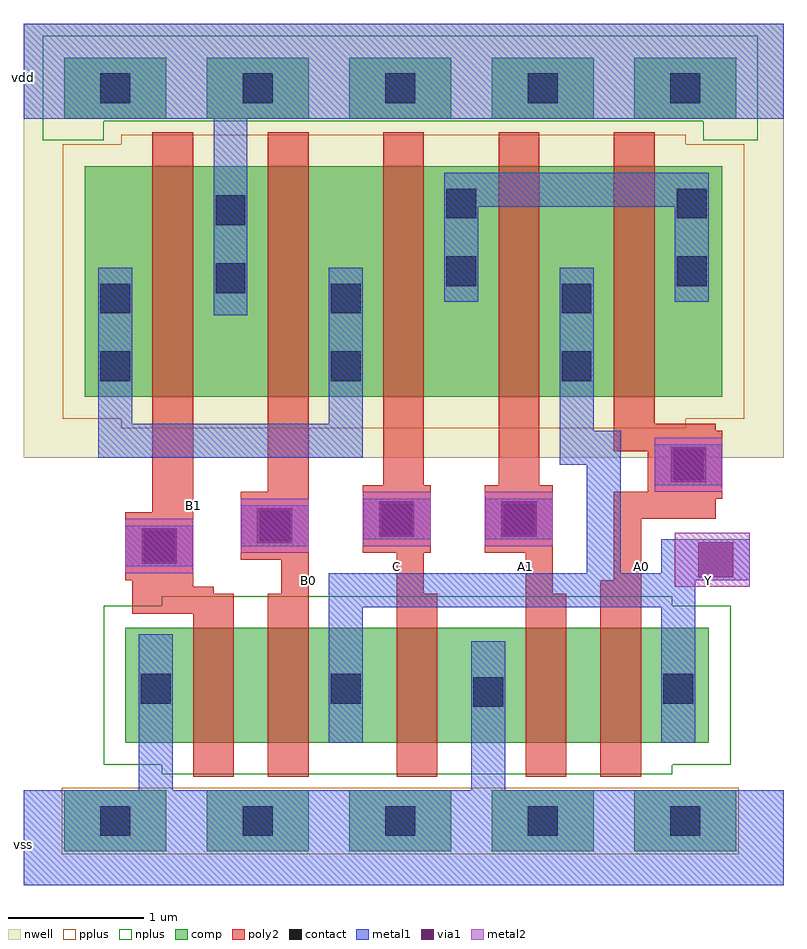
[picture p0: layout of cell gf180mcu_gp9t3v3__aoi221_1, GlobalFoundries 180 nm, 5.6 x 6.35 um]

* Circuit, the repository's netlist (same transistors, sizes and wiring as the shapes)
* NGSPICE file created from gf180mcu_gp9t3v3__aoi221_1.ext - technology: gf180mcuD

.subckt gf180mcu_gp9t3v3__aoi221_1 A0 A1 B0 B1 C Y vdd vss
X0 a_30_670# B0 vdd vdd pfet_03v3 ad=0.4675p pd=2.25u as=0.4675p ps=2.25u w=1.7u l=0.3u
X1 Y A1 a_530_670# vdd pfet_03v3 ad=0.4675p pd=2.25u as=0.4675p ps=2.25u w=1.7u l=0.3u
X2 a_250_160# B1 vss vss nfet_03v3 ad=0.10625p pd=1.1u as=0.425p ps=2.7u w=0.85u l=0.3u
X3 vss C Y vss nfet_03v3 ad=0.27625p pd=1.5u as=0.27625p ps=1.5u w=0.85u l=0.3u
X4 a_530_670# A0 Y vdd pfet_03v3 ad=0.85p pd=4.4u as=0.4675p ps=2.25u w=1.7u l=0.3u
X5 Y A0 a_740_160# vss nfet_03v3 ad=0.425p pd=2.7u as=0.10625p ps=1.1u w=0.85u l=0.3u
X6 vdd B1 a_30_670# vdd pfet_03v3 ad=0.4675p pd=2.25u as=0.85p ps=4.4u w=1.7u l=0.3u
X7 Y B0 a_250_160# vss nfet_03v3 ad=0.27625p pd=1.5u as=0.10625p ps=1.1u w=0.85u l=0.3u
X8 a_740_160# A1 vss vss nfet_03v3 ad=0.10625p pd=1.1u as=0.27625p ps=1.5u w=0.85u l=0.3u
X9 a_530_670# C a_30_670# vdd pfet_03v3 ad=0.4675p pd=2.25u as=0.4675p ps=2.25u w=1.7u l=0.3u
.ends

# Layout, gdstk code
import gdstk
lib = gdstk.Library(unit=1e-6, precision=1e-09)
def R(c, l, rs):  # rectangles x0, y0, x1, y1
    for r in rs: c.add(gdstk.rectangle(r[:2], r[2:], *l))
def A(c, l, x, y, w, h, nx, ny, dx, dy):  # array of equal rectangles
    R(c, l, [(x+i*dx, y+j*dy, x+i*dx+w, y+j*dy+h) for i in range(nx) for j in range(ny)])
nwell = (21, 0)
comp = (22, 0)
poly2 = (30, 0)
pplus = (31, 0)
nplus = (32, 0)
contact = (33, 0)
metal1 = (34, 0)
via1 = (35, 0)
metal2 = (36, 0)

gf180mcu_gp9t3v3__aoi221 = lib.new_cell('gf180mcu_gp9t3v3__aoi221_1')
R(gf180mcu_gp9t3v3__aoi221, nwell, [(-0.3,2.9,5.3,6.1)])
A(gf180mcu_gp9t3v3__aoi221, comp, 0, 0, 0.75, 0.45, 5, 2, 1.05, 5.4)
R(gf180mcu_gp9t3v3__aoi221, comp, [(0.45,0.8,4.75,1.65), (0.15,3.35,4.85,5.05)])
A(gf180mcu_gp9t3v3__aoi221, poly2, 1.5, 0.55, 0.3, 1.35, 3, 1, 0.95, 0)
R(gf180mcu_gp9t3v3__aoi221, poly2, [(0.95,0.55,1.25,1.75), (3.95,0.55,4.25,2), (0.5,1.75,1.25,1.9), (0.5,1.9,1.1,1.95), (1.6,1.9,1.8,2.15), (2.45,1.9,2.65,2.2), (3.4,1.9,3.6,2.2), (0.5,1.95,0.95,2), (0.45,2,0.95,2.5), (4.05,2,4.25,2.45), (1.3,2.15,1.8,2.65), (2.2,2.2,2.7,2.7), (3.1,2.2,3.6,2.7), (4.05,2.45,4.8,2.6), (0.65,2.5,0.95,5.3), (4.05,2.6,4.85,2.65), (1.5,2.65,1.8,5.3), (4.3,2.65,4.85,2.95), (2.35,2.7,2.65,5.3), (3.2,2.7,3.5,5.3), (4.05,2.95,4.85,3.1), (4.05,3.1,4.8,3.15), (4.05,3.15,4.35,5.3)])
R(gf180mcu_gp9t3v3__aoi221, pplus, [(-0.02,-0.02,4.97,0.47), (0.42,3.12,4.58,3.19), (-0.01,3.19,5.01,5.21), (0.42,5.21,4.58,5.28)])
R(gf180mcu_gp9t3v3__aoi221, nplus, [(0.72,0.57,4.48,0.64), (0.29,0.64,4.91,1.81), (0.72,1.81,4.48,1.88), (-0.16,5.24,0.29,5.38), (4.71,5.24,5.11,5.38), (-0.16,5.38,5.11,6.01)])
A(gf180mcu_gp9t3v3__aoi221, contact, 0.265, 0.115, 0.22, 0.22, 5, 2, 1.05, 5.4)
A(gf180mcu_gp9t3v3__aoi221, contact, 0.265, 3.465, 0.22, 0.22, 3, 2, 1.7, 0.5)
R(gf180mcu_gp9t3v3__aoi221, contact, [(3.015,1.065,3.235,1.285), (0.565,1.09,0.785,1.31), (1.965,1.09,2.185,1.31), (4.415,1.09,4.635,1.31), (0.59,2.14,0.81,2.36), (1.44,2.29,1.66,2.51), (2.34,2.34,2.56,2.56), (3.24,2.34,3.46,2.56), (4.49,2.74,4.71,2.96), (1.115,4.115,1.335,4.335), (2.815,4.165,3.035,4.385), (4.515,4.165,4.735,4.385), (1.115,4.615,1.335,4.835), (2.815,4.665,3.035,4.885), (4.515,4.665,4.735,4.885)])
R(gf180mcu_gp9t3v3__aoi221, metal1, [(-0.3,-0.25,5.3,0.45), (0.55,0.45,0.8,1.6), (3,0.45,3.25,1.55), (1.95,0.8,2.2,1.8), (4.4,0.8,4.65,1.8), (1.95,1.8,4.65,2), (1.95,2,5.05,2.05), (3.85,2.05,4.1,2.85), (4.4,2.05,5.05,2.3), (0.45,2.1,0.95,2.4), (1.3,2.25,1.8,2.55), (2.2,2.3,2.7,2.6), (3.1,2.3,3.6,2.6), (4.35,2.7,4.85,3), (3.65,2.85,4.1,3.1), (0.25,2.9,2.2,3.15), (3.65,3.1,3.9,4.3), (0.25,3.15,0.5,4.3), (1.95,3.15,2.2,4.3), (1.1,3.95,1.35,5.4), (2.8,4.05,3.05,4.75), (4.5,4.05,4.75,4.75), (2.8,4.75,4.75,5), (-0.3,5.4,5.3,6.1)])
R(gf180mcu_gp9t3v3__aoi221, via1, [(4.67,2.02,4.93,2.28), (0.57,2.12,0.83,2.38), (1.42,2.27,1.68,2.53), (2.32,2.32,2.58,2.58), (3.22,2.32,3.48,2.58), (4.47,2.72,4.73,2.98)])
R(gf180mcu_gp9t3v3__aoi221, metal2, [(4.5,1.95,5.05,2.35), (0.45,2.05,0.95,2.45), (1.3,2.2,1.8,2.6), (2.2,2.25,2.7,2.65), (3.1,2.25,3.6,2.65), (4.35,2.65,4.85,3.05)])
gf180mcu_gp9t3v3__aoi221.add(gdstk.Label('A0', (4.25,2.1), layer=30, texttype=10))
gf180mcu_gp9t3v3__aoi221.add(gdstk.Label('A1', (3.4,2.1), layer=30, texttype=10))
gf180mcu_gp9t3v3__aoi221.add(gdstk.Label('B0', (1.8,2), layer=30, texttype=10))
gf180mcu_gp9t3v3__aoi221.add(gdstk.Label('B1', (0.95,2.55), layer=30, texttype=10))
gf180mcu_gp9t3v3__aoi221.add(gdstk.Label('C', (2.45,2.1), layer=30, texttype=10))
gf180mcu_gp9t3v3__aoi221.add(gdstk.Label('Y', (4.75,2), layer=34, texttype=10))
gf180mcu_gp9t3v3__aoi221.add(gdstk.Label('vdd', (-0.3,5.7), layer=34, texttype=10))
gf180mcu_gp9t3v3__aoi221.add(gdstk.Label('vss', (-0.3,0.05), layer=34, texttype=10))

lib.write_gds('gf180mcu_gp9t3v3__aoi221_1.gds')
